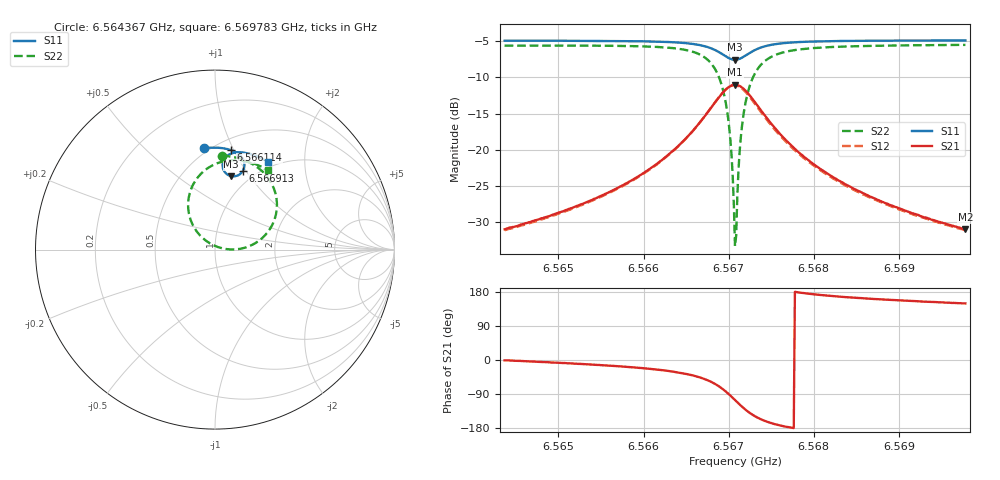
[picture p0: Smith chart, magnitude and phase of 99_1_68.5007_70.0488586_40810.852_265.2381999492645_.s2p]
#  HZ  S  RI  R  50.00
! Rohde & Schwarz Vector Network Analyzer
! Rohde-Schwarz,ZNB20-2Port,1311601062101988,3.16
! Created: UTC 3/20/2024, 5:08:07 PM
! freq[Hz]  re:S11  im:S11  re:S21  im:S21  re:S12  im:S12  re:S22  im:S22
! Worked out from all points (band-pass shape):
!   401 points, 6.564367 GHz to 6.569783 GHz, reference 50 ohm
!   highest |S21| = -11.02 dB at 6.567075 GHz (marker M1); lowest = -31.1 dB at 6.569783 GHz (marker M2)
!   |S21| within 3 dB of the highest: 6.566805 GHz to 6.567347 GHz (541.9 kHz wide, 0.00825 % of centre)
!   lowest |S11| = -7.6 dB at 6.567075 GHz (marker M3), VSWR 2.44, Z = 41.4 + j41.1 ohm
!   |S11| at or under -10 dB: nowhere
!   |S22| runs from -33.4 to -5.5 dB; largest |S21 - S12| = 0.013
!   S11 on the Smith chart (normalised r, x): 6.564367 GHz: 0.47, +0.78; 6.566114 GHz: 0.60, +0.98; 6.566913 GHz: 0.87, +0.97; 6.569783 GHz: 0.91, +1.33
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6.5643675e9  -0.062 0.5656  0.0281 -0.000478  0.0276 -0.000948  0.0375 0.5241
6.5652745e9  0.0123 0.5676  0.0413 -0.00756  0.0405 -0.0083  0.1236 0.5106
6.5661139e9  0.0906 0.5539  0.0696 -0.0314  0.0686 -0.0322  0.233 0.4608
6.5661816e9  0.0979 0.5512  0.0736 -0.0358  0.0724 -0.0365  0.2445 0.4521
6.5664794e9  0.1323 0.5319  0.0946 -0.0681  0.0931 -0.0695  0.3034 0.3881
6.5666961e9  0.1573 0.5006  0.1083 -0.1225  0.1059 -0.1249  0.3429 0.2831
6.5668179e9  0.1638 0.4693  0.1009 -0.1772  0.0965 -0.1804  0.3349 0.1788
6.5669127e9  0.1548 0.4378  0.0682 -0.2312  0.0605 -0.2343  0.2765 0.0775
6.5669668e9  0.1396 0.4207  0.0312 -0.2592  0.0213 -0.2607  0.2088 0.0272
6.5670074e9  0.1231 0.4117  -0.00553 -0.2729  -0.0169 -0.2721  0.1414 0.00467
6.5670345e9  0.1103 0.4086  -0.0332 -0.2763  -0.0451 -0.2736  0.0915 0.000702
6.5670616e9  0.0967 0.4084  -0.0618 -0.2742  -0.0737 -0.2694  0.0408 0.0071
6.5670751e9  0.0899 0.4095  -0.076 -0.2709  -0.0876 -0.2651  0.016 0.0142
6.5671022e9  0.077 0.4139  -0.103 -0.2606  -0.1136 -0.2528  -0.0301 0.0359
6.5671293e9  0.0656 0.4209  -0.1271 -0.2453  -0.1363 -0.2359  -0.0702 0.066
6.5671699e9  0.0524 0.4352  -0.1551 -0.216  -0.1616 -0.2052  -0.1149 0.1208
6.5672241e9  0.0433 0.457  -0.1765 -0.1728  -0.1796 -0.1616  -0.1451 0.1993
6.5672917e9  0.0434 0.4823  -0.1826 -0.1231  -0.1824 -0.1133  -0.147 0.2862
6.5675354e9  0.0808 0.5306  -0.1404 -0.0277  -0.1373 -0.0236  -0.0504 0.4465
6.5679822e9  0.1438 0.5423  -0.0801 0.00862  -0.0784 0.00989  0.0859 0.4974
6.5688893e9  0.2283 0.5214  -0.0387 0.015  -0.0379 0.0154  0.216 0.4796
6.5697828e9  0.2942 0.4892  -0.0241 0.0143  -0.0235 0.0145  0.294 0.4434
